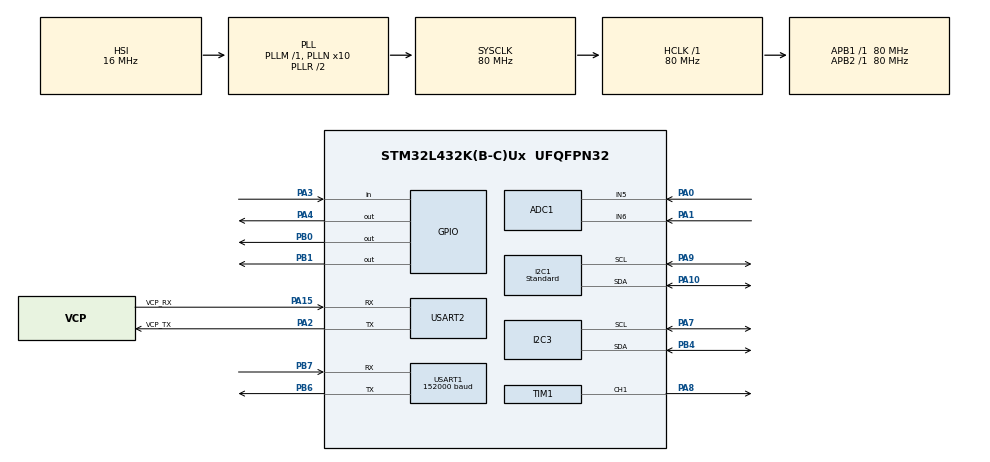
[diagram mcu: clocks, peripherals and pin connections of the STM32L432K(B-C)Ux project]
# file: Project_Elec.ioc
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ADC1.Channel-0\#ChannelRegularConversion=ADC_CHANNEL_5
ADC1.NbrOfConversionFlag=1
ADC1.OffsetNumber-0\#ChannelRegularConversion=ADC_OFFSET_NONE
ADC1.Rank-0\#ChannelRegularConversion=1
ADC1.SamplingTime-0\#ChannelRegularConversion=ADC_SAMPLETIME_2CYCLES_5
ADC1.master=1
Dma.Request0=USART1_RX
Dma.Request1=USART1_TX
Dma.USART1_RX.0.Direction=DMA_PERIPH_TO_MEMORY
Dma.USART1_RX.0.Instance=DMA1_Channel5
Dma.USART1_RX.0.MemDataAlignment=DMA_MDATAALIGN_BYTE
Dma.USART1_RX.0.MemInc=DMA_MINC_ENABLE
Dma.USART1_RX.0.Mode=DMA_CIRCULAR
Dma.USART1_RX.0.PeriphDataAlignment=DMA_PDATAALIGN_BYTE
Dma.USART1_RX.0.PeriphInc=DMA_PINC_DISABLE
Dma.USART1_RX.0.Priority=DMA_PRIORITY_LOW
Dma.USART1_TX.1.Direction=DMA_MEMORY_TO_PERIPH
Dma.USART1_TX.1.Instance=DMA1_Channel4
Dma.USART1_TX.1.MemDataAlignment=DMA_MDATAALIGN_BYTE
Dma.USART1_TX.1.MemInc=DMA_MINC_ENABLE
Dma.USART1_TX.1.Mode=DMA_NORMAL
Dma.USART1_TX.1.PeriphDataAlignment=DMA_PDATAALIGN_BYTE
Dma.USART1_TX.1.PeriphInc=DMA_PINC_DISABLE
Dma.USART1_TX.1.Priority=DMA_PRIORITY_LOW
I2C1.I2C_Speed_Mode=I2C_Standard
I2C1.Timing=0x10D19CE4
I2C3.Timing=0x10D19CE4
Mcu.Family=STM32L4
Mcu.Name=STM32L432K(B-C)Ux
Mcu.Package=UFQFPN32
NVIC.DMA1_Channel4_IRQn=true\:0\:0\:false\:false\:true\:false\:true\:true
NVIC.DMA1_Channel5_IRQn=true\:0\:0\:false\:false\:true\:false\:true\:true
NVIC.PriorityGroup=NVIC_PRIORITYGROUP_4
NVIC.USART1_IRQn=true\:0\:0\:false\:false\:true\:true\:true\:true
PA0.Signal=ADCx_IN5
PA1.Signal=ADCx_IN6
PA10.Mode=I2C
PA10.Signal=I2C1_SDA
PA13\ (JTMS-SWDIO).GPIO_Label=SWDIO
PA13\ (JTMS-SWDIO).Mode=Serial_Wire
PA13\ (JTMS-SWDIO).Signal=SYS_JTMS-SWDIO
PA14\ (JTCK-SWCLK).GPIO_Label=SWCLK
PA14\ (JTCK-SWCLK).Mode=Serial_Wire
PA14\ (JTCK-SWCLK).Signal=SYS_JTCK-SWCLK
PA15\ (JTDI).GPIO_Label=VCP_RX
PA15\ (JTDI).Mode=Asynchronous
PA15\ (JTDI).Signal=USART2_RX
PA2.GPIO_Label=VCP_TX
PA2.Mode=Asynchronous
PA2.Signal=USART2_TX
PA3.Signal=GPIO_Input
PA4.Signal=GPIO_Output
PA7.Mode=I2C
PA7.Signal=I2C3_SCL
PA8.Signal=S_TIM1_CH1
PA9.Mode=I2C
PA9.Signal=I2C1_SCL
PB0.Signal=GPIO_Output
PB1.Signal=GPIO_Output
PB4\ (NJTRST).Mode=I2C
PB4\ (NJTRST).Signal=I2C3_SDA
PB6.Mode=Asynchronous
PB6.Signal=USART1_TX
PB7.Mode=Asynchronous
PB7.Signal=USART1_RX
PC14-OSC32_IN\ (PC14).Mode=LSE-External-Oscillator
PC14-OSC32_IN\ (PC14).Signal=RCC_OSC32_IN
PC15-OSC32_OUT\ (PC15).Mode=LSE-External-Oscillator
PC15-OSC32_OUT\ (PC15).Signal=RCC_OSC32_OUT
ProjectManager.HeapSize=0x200
ProjectManager.StackSize=0x400
ProjectManager.TargetToolchain=STM32CubeIDE
RCC.ADCFreq_Value=64000000
RCC.AHBFreq_Value=80000000
RCC.APB1Freq_Value=80000000
RCC.APB1TimFreq_Value=80000000
RCC.APB2Freq_Value=80000000
RCC.APB2TimFreq_Value=80000000
RCC.CortexFreq_Value=80000000
RCC.HCLKFreq_Value=80000000
RCC.HSE_VALUE=8000000
RCC.HSI16_VALUE=16000000
RCC.HSI48_VALUE=48000000
RCC.HSI_VALUE=16000000
RCC.MSI_VALUE=4000000
RCC.PLLMUL=RCC_PLLMUL_4
RCC.PLLN=10
RCC.PLLSourceVirtual=RCC_PLLSOURCE_HSI
RCC.SYSCLKFreq_VALUE=80000000
RCC.SYSCLKSource=RCC_SYSCLKSOURCE_PLLCLK
RCC.USART1CLockSelection=RCC_USART1CLKSOURCE_HSI
RCC.USBFreq_Value=64000000
RCC.VCOOutputFreq_Value=160000000
SH.ADCx_IN5.0=ADC1_IN5,IN5-Single-Ended
SH.ADCx_IN6.0=ADC1_IN6,IN6-Single-Ended
SH.S_TIM1_CH1.0=TIM1_CH1,PWM Generation1 CH1
TIM1.Channel-PWM\ Generation1\ CH1=TIM_CHANNEL_1
TIM1.Prescaler=799
USART1.BaudRate=152000
USART1.VirtualMode-Asynchronous=VM_ASYNC
USART2.VirtualMode-Asynchronous=VM_ASYNC
VP_TIM1_VS_ClockSourceINT.Mode=Internal
board=NUCLEO-L432KC

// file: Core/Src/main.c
/* USER CODE BEGIN Header */
/**
  ******************************************************************************
  * @file           : main.c
  * @brief          : Main program body
  ******************************************************************************
  * @attention
  *
  * Copyright (c) 2026 STMicroelectronics.
  * All rights reserved.
  *
  * This software is licensed under terms that can be found in the LICENSE file
  * in the root directory of this software component.
  * If no LICENSE file comes with this software, it is provided AS-IS.
  *
  ******************************************************************************
  */
/* USER CODE END Header */
#include "main.h"

/* USER CODE BEGIN Includes */
#include "bmp280.h"
#include "ssd1306.h"
#include "ssd1306_fonts.h"
#include "stdio.h"
#include "string.h"
#include "stdlib.h"
/* USER CODE END Includes */

/* USER CODE BEGIN PD */
#define RX_BUF_SIZE 128
/* USER CODE END PD */

ADC_HandleTypeDef hadc1;

I2C_HandleTypeDef hi2c1;
I2C_HandleTypeDef hi2c3;

TIM_HandleTypeDef htim1;

UART_HandleTypeDef huart1;
UART_HandleTypeDef huart2;
DMA_HandleTypeDef hdma_usart1_rx;
DMA_HandleTypeDef hdma_usart1_tx;

/* USER CODE BEGIN PV */
BMP280_HandleTypedef bmp280;
float temperature, pressure, humidity;
int soil_perc = 0, light_perc = 0;

// --- Moving Average Filters ---
#define MA_SIZE 5
int soil_ma[MA_SIZE] = {0};
int light_ma[MA_SIZE] = {0};
float temp_ma[MA_SIZE] = {0};
uint8_t ma_idx = 0;
uint8_t ma_count = 0;

// --- DMA Circular Buffer ---
#define DMA_RX_BUF_SIZE 256
uint8_t dma_rx_buf[DMA_RX_BUF_SIZE];
uint16_t dma_read_ptr = 0;

#define CMD_QUEUE_SIZE 8
char cmd_queue[CMD_QUEUE_SIZE][16];
volatile uint8_t cmd_head = 0;
volatile uint8_t cmd_tail = 0;

uint16_t rx_index = 0;
uint8_t rx_temp_buffer[RX_BUF_SIZE]; // Used for parsing characters from DMA

// Actuator states
uint8_t pump_state = 0, fan_state = 0, light_state = 0;
uint8_t auto_mode = 1;
uint8_t is_daytime = 1; // 1 = Day, 0 = Night (Sleep mode for light)

// --- ADVANCED: Calibration Values ---
int dry_val = 4095; // Default for air
int wet_val = 3500; // Default for water

// Schmitt Trigger Thresholds
int soil_low_threshold = 30;
int soil_high_threshold = 50;
float temp_high_threshold = 30.0;
float temp_low_threshold = 25.0;
int light_low_threshold = 30;
int light_high_threshold = 73;
const int SOIL_CRITICAL_LOW = 0;   // 0% moisture
const int SOIL_CRITICAL_HIGH = 100; // 100% moisture (flooded)
const int TEMP_CRITICAL_LOW = 0;   // 5 degrees C (freezing danger)
const int TEMP_CRITICAL_HIGH = 50; // 45 degrees C (heat stroke danger)
const int LIGHT_CRITICAL_LOW = 0;
const int LIGHT_CRITICAL_HIGH = 100;

// --- ADVANCED: Failsafe Variables ---
uint32_t pump_start_tick = 0;
uint8_t pump_failsafe = 0; // 1 = Hardware error detected
int soil_last_check = 0;

int health_score = 100;
uint32_t last_telemetry_time = 0;
char last_cmd[16] = "WAIT";

// --- Non-Blocking TX ---
char json_tx_buffer[250];
volatile uint8_t tx_complete = 1;// DMA hardware reads from here
/* USER CODE END PV */

void SystemClock_Config(void);
static void MX_GPIO_Init(void);
static void MX_DMA_Init(void);
static void MX_USART2_UART_Init(void);
static void MX_I2C1_Init(void);
static void MX_I2C3_Init(void);
static void MX_TIM1_Init(void);
static void MX_ADC1_Init(void);
static void MX_USART1_UART_Init(void);
/* USER CODE BEGIN PFP */
uint16_t Read_ADC_Channel(uint32_t channel);
void Apply_Sensor_Smoothing(int current_soil, int current_light, float current_temp);
int32_t constrain(int32_t value, int32_t min_val, int32_t max_val);
int32_t map(int32_t x, int32_t in_min, int32_t in_max, int32_t out_min, int32_t out_max);
void Process_Command(char* cmd);
/* USER CODE END PFP */

/* USER CODE BEGIN 0 */
const unsigned char plant_happy_32x32[] = {
        0x00, 0x1e, 0x78, 0x00, 0x00, 0x61, 0x86, 0x00, 0x01, 0x83, 0x03, 0x00, 0x00, 0xc3, 0x0c, 0x00,
        0x00, 0x67, 0x98, 0x00, 0x00, 0x3c, 0xf0, 0x00, 0x00, 0xff, 0xfc, 0x00, 0x03, 0xff, 0xff, 0x00,
        0x07, 0xff, 0xff, 0x80, 0x0f, 0xff, 0xff, 0xc0, 0x1f, 0x3f, 0xf3, 0xe0, 0x1e, 0x1f, 0xe1, 0xe0,
        0x3f, 0x3f, 0xf3, 0xf0, 0x3f, 0xff, 0xff, 0xf0, 0x3f, 0xff, 0xff, 0xf0, 0x3f, 0xef, 0xf7, 0xf0,
        0x3f, 0xe7, 0xe7, 0xf0, 0x1f, 0xf8, 0x1f, 0xe0, 0x1f, 0xff, 0xff, 0xe0, 0x0f, 0xff, 0xff, 0xc0,
        0x07, 0xff, 0xff, 0x80, 0x03, 0xff, 0xff, 0x00, 0x00, 0xff, 0xfc, 0x00, 0x00, 0x3c, 0xf0, 0x00,
        0x00, 0x78, 0x78, 0x00, 0x00, 0xf0, 0x3c, 0x00, 0x00, 0x00, 0x00, 0x00, 0x00, 0x00, 0x00, 0x00,
        0x00, 0x00, 0x00, 0x00, 0x00, 0x00, 0x00, 0x00, 0x00, 0x00, 0x00, 0x00, 0x00, 0x00, 0x00, 0x00
};

const unsigned char plant_sad_32x32[] = {
        0x00, 0x00, 0x00, 0x00, 0x00, 0x00, 0x00, 0x00, 0x00, 0x00, 0x00, 0x00, 0x00, 0x3f, 0x00, 0x00,
        0x00, 0xc0, 0xc0, 0x00, 0x01, 0x9f, 0x30, 0x00, 0x00, 0xe1, 0xc0, 0x00, 0x00, 0x3f, 0x00, 0x00,
        0x00, 0xff, 0xfc, 0x00, 0x03, 0xff, 0xff, 0x00, 0x07, 0xff, 0xff, 0x80, 0x0f, 0xff, 0xff, 0xc0,
        0x1f, 0x3f, 0xf3, 0xe0, 0x1e, 0x1f, 0xe1, 0xe0, 0x3f, 0x3f, 0xf3, 0xf0, 0x3f, 0xff, 0xff, 0xf0,
        0x3f, 0xff, 0xff, 0xf0, 0x3f, 0xf0, 0x3f, 0xf0, 0x3f, 0xf3, 0x3f, 0xf0, 0x1f, 0xf0, 0x3f, 0xe0,
        0x1f, 0xff, 0xff, 0xe0, 0x0f, 0xff, 0xff, 0xc0, 0x07, 0xff, 0xff, 0x80, 0x03, 0xff, 0xff, 0x00,
        0x00, 0xff, 0xfc, 0x00, 0x00, 0x3c, 0xf0, 0x00, 0x00, 0x78, 0x78, 0x00, 0x00, 0xf0, 0x3c, 0x00,
        0x00, 0x00, 0x00, 0x00, 0x00, 0x00, 0x00, 0x00, 0x00, 0x00, 0x00, 0x00, 0x00, 0x00, 0x00, 0x00
};
/* USER CODE END 0 */

int main(void)
{

  /* MCU Configuration--------------------------------------------------------*/

  /* Reset of all peripherals, Initializes the Flash interface and the Systick. */
  HAL_Init();

  /* Configure the system clock */
  SystemClock_Config();

  /* Initialize all configured peripherals */
  MX_GPIO_Init();
  MX_DMA_Init();
  MX_USART2_UART_Init();
  MX_I2C1_Init();
  MX_I2C3_Init();
  MX_TIM1_Init();
  MX_ADC1_Init();
  MX_USART1_UART_Init();
  /* USER CODE BEGIN 2 */

  ssd1306_Init();
  HAL_ADCEx_Calibration_Start(&hadc1, ADC_SINGLE_ENDED);
  bmp280_init_default_params(&bmp280.params);
  bmp280.addr = BMP280_I2C_ADDRESS_0; // Try _0 (0x76) or _1 (0x77) if it fails
  bmp280.i2c = &hi2c3;

    if (!bmp280_init(&bmp280, &bmp280.params)) {
        // Sensor not found!
    }

  // Start UART DMA circular reception
  HAL_UART_Receive_DMA(&huart1, dma_rx_buf, DMA_RX_BUF_SIZE);

  // THE ULTIMATE FIX: Disable the UART Error Interrupt (EIE).
  // This prevents the STM32 HAL from violently shutting down the DMA
  // receiver if the water pump causes an electrical noise spike (Overrun Error).
  CLEAR_BIT(huart1.Instance->CR3, USART_CR3_EIE);

  /* USER CODE END 2 */

  /* Infinite loop */
  /* USER CODE BEGIN WHILE */
  while (1)
  {

          uint16_t dma_write_ptr = DMA_RX_BUF_SIZE - __HAL_DMA_GET_COUNTER(&hdma_usart1_rx);
          while (dma_read_ptr != dma_write_ptr) {
              uint8_t c = dma_rx_buf[dma_read_ptr];
              dma_read_ptr = (dma_read_ptr + 1) % DMA_RX_BUF_SIZE;

              if (c == '\n' || c == '\r') {
                  if (rx_index > 0) {
                      rx_temp_buffer[rx_index] = '\0';
                      uint8_t next_head = (cmd_head + 1) % CMD_QUEUE_SIZE;
                      if (next_head != cmd_tail) { // if queue not full
                          strncpy(cmd_queue[cmd_head], (char*)rx_temp_buffer, 15);
                          cmd_queue[cmd_head][15] = '\0';
                          cmd_head = next_head;
                      }
                      rx_index = 0;
                  }
              } else {

                  if ((c >= '0' && c <= '9') || c == ':' || c == '.' || c == '-') {
                      if (rx_index < RX_BUF_SIZE - 1) {
                          rx_temp_buffer[rx_index++] = (uint8_t)c;
                      }
                  } else {
                      rx_index = 0;
                  }
              }
          }

          while (cmd_tail != cmd_head) {
              Process_Command(cmd_queue[cmd_tail]);
              cmd_tail = (cmd_tail + 1) % CMD_QUEUE_SIZE;
              last_telemetry_time = HAL_GetTick() - 1000;
          }

          // --- 1. READ THE SENSORS ---
          uint16_t raw_moisture = Read_ADC_Channel(ADC_CHANNEL_5); // PA0
          uint16_t raw_light = Read_ADC_Channel(ADC_CHANNEL_6);    // PA1 (LDR)
          bmp280_read_float(&bmp280, &temperature, &pressure, &humidity);

          // --- 2. CALCULATE PERCENTAGES (Using Calibration) ---
          int current_soil = 100 - ((raw_moisture - wet_val) * 100 / (dry_val - wet_val));

          int bright_value = 4095;
          int dark_value = 100;
          int current_light = 100 - ((raw_light - bright_value) * 100 / (dark_value - bright_value));

          if (current_soil > 100) { current_soil = 100; }
          if (current_soil < 0)   { current_soil = 0; }
          if (current_light > 100) { current_light = 100; }
          if (current_light < 0)   { current_light = 0; }

          // --- 2.5 APPLY MOVING AVERAGE FILTER ---
          Apply_Sensor_Smoothing(current_soil, current_light, temperature);

          // --- 3. HEALTH SCORING LOGIC ---

          int soil_score = 100;
          if (soil_perc < soil_low_threshold) {
            soil_score = map(soil_perc, SOIL_CRITICAL_LOW, soil_low_threshold, 0, 100);
          } else if (soil_perc > soil_high_threshold) {
            soil_score = map(soil_perc, soil_high_threshold, SOIL_CRITICAL_HIGH, 100, 0);
          }
          soil_score = constrain(soil_score, 0, 100);

          int temp_score = 100;
          if (temperature < temp_low_threshold) {
            temp_score = map(temperature, TEMP_CRITICAL_LOW, temp_low_threshold, 0, 100);
          } else if (temperature > temp_high_threshold) {
            temp_score = map(temperature, temp_high_threshold, TEMP_CRITICAL_HIGH, 100, 0);
          }
          temp_score = constrain(temp_score, 0, 100);

          int light_score = 100;
          if (light_perc < light_low_threshold) {
            light_score = map(light_perc, LIGHT_CRITICAL_LOW, light_low_threshold, 0, 100);
          } else if (light_perc > light_high_threshold) {
            // Assuming 100% light is the absolute max, but just slightly too bright
            light_score = map(light_perc,LIGHT_CRITICAL_HIGH, light_high_threshold, 100, 0); // Doesn't drop to 0, just to 50
          }
          light_score = constrain(light_score, 0, 100);

          // Apply Biological Weighting
          // Soil and Water are usually the most critical, followed by temp, then light.
          // The weights must add up to 1.0 (100%)
          float final_health = (soil_score * 0.50) + (temp_score * 0.35) + (light_score * 0.15);

          // Final output
          int health_score = (int)final_health;

          // --- 4. AUTOMATION & FAILSAFE LOGIC ---
          if (auto_mode && !pump_failsafe) {
              if (soil_perc < soil_low_threshold) {
                  if (pump_state == 0) {
                      pump_state = 1;
                      pump_start_tick = HAL_GetTick();
                      soil_last_check = soil_perc;
                  }
              } else if (soil_perc > soil_high_threshold) {
                  pump_state = 0;
              }

              if (pump_state == 1 && (HAL_GetTick() - pump_start_tick > 300000)) { // 5 Minute timeout for drip irrigation
                  if (soil_perc <= soil_last_check + 1) { // Only require 1% change over 5 mins
                      pump_failsafe = 1;
                      pump_state = 0;
                  } else {
                      pump_start_tick = HAL_GetTick(); // Reset tick to check again in 5 mins
                      soil_last_check = soil_perc;
                  }
              }
              HAL_GPIO_WritePin(GPIOB, GPIO_PIN_0, pump_state ? GPIO_PIN_SET : GPIO_PIN_RESET);

              if (temperature > temp_high_threshold) {
                  fan_state = 1;
              } else if (temperature < temp_low_threshold) {
                  fan_state = 0;
              }
              HAL_GPIO_WritePin(GPIOB, GPIO_PIN_1, fan_state ? GPIO_PIN_SET : GPIO_PIN_RESET);

              if (is_daytime) {
                  if (light_perc < light_low_threshold && light_state == 0) {
                      light_state = 1;
                      HAL_GPIO_WritePin(GPIOA, GPIO_PIN_4, GPIO_PIN_SET);
                      HAL_Delay(100); // Short pulse to toggle
                      HAL_GPIO_WritePin(GPIOA, GPIO_PIN_4, GPIO_PIN_RESET);
                  } else if (light_perc > light_high_threshold && light_state == 1) {
                      light_state = 0;
                      HAL_GPIO_WritePin(GPIOA, GPIO_PIN_4, GPIO_PIN_SET);
                      HAL_Delay(100); // Short pulse to toggle
                      HAL_GPIO_WritePin(GPIOA, GPIO_PIN_4, GPIO_PIN_RESET);
                  }
              } else {
                  if (light_state == 1) {
                      light_state = 0;
                      HAL_GPIO_WritePin(GPIOA, GPIO_PIN_4, GPIO_PIN_SET);
                      HAL_Delay(100); // Short pulse to toggle
                      HAL_GPIO_WritePin(GPIOA, GPIO_PIN_4, GPIO_PIN_RESET);
                  }
              }
          }

          // --- 5. TELEMETRY & DISPLAY ---
          if (HAL_GetTick() - last_telemetry_time >= 1000) {
              last_telemetry_time = HAL_GetTick();

              ssd1306_Fill(Black);
              char display_buffer[32];

              // Draw Pokemon Avatar on the left (x=0, y=16)
              if (pump_failsafe || health_score <= 70) {
                  ssd1306_DrawBitmap(0, 16, plant_sad_32x32, 32, 32, White);
              } else {
                  ssd1306_DrawBitmap(0, 16, plant_happy_32x32, 32, 32, White);
              }

              if (pump_failsafe) {
                  ssd1306_SetCursor(35, 0);
                  ssd1306_WriteString("CRITICAL", Font_7x10, White);
                  ssd1306_SetCursor(35, 15);
                  ssd1306_WriteString("CHECK PUMP", Font_7x10, White);
              } else {
                  ssd1306_SetCursor(35, 0);
                  sprintf(display_buffer, "H:%d%% %s", health_score, auto_mode ? "A" : "M");
                  ssd1306_WriteString(display_buffer, Font_7x10, White);

                  sprintf(display_buffer, "S:%d%% L:%d%%", soil_perc, light_perc);
                  ssd1306_SetCursor(35, 15);
                  ssd1306_WriteString(display_buffer, Font_7x10, White);
              }

              sprintf(display_buffer, "T:%.1fC P:%s", temperature, pump_state ? "ON" : "OFF");
              ssd1306_SetCursor(35, 30);
              ssd1306_WriteString(display_buffer, Font_7x10, White);

              sprintf(display_buffer, "F:%s L:%s", fan_state ? "ON" : "OFF", light_state ? "ON" : "OFF");
              ssd1306_SetCursor(35, 42);
              ssd1306_WriteString(display_buffer, Font_7x10, White);

              sprintf(display_buffer, "C:%s", last_cmd);
              ssd1306_SetCursor(35, 54);
              ssd1306_WriteString(display_buffer, Font_7x10, White);

              ssd1306_UpdateScreen();

              if (tx_complete) {
                  sprintf(json_tx_buffer, "{\"s\":%d,\"l\":%d,\"t\":%.1f,\"p\":%d,\"f\":%d,\"pl\":%d,\"am\":%d,\"h\":%d,\"sl\":%d,\"sh\":%d,\"th\":%.1f,\"tl\":%.1f,\"ll\":%d,\"lh\":%d,\"pf\":%d,\"dv\":%d,\"wv\":%d,\"day\":%d,\"c\":\"%s\"}\n",
                          soil_perc, light_perc, temperature, pump_state, fan_state, light_state, auto_mode, health_score,
                          soil_low_threshold, soil_high_threshold, temp_high_threshold, temp_low_threshold, light_low_threshold, light_high_threshold, pump_failsafe, dry_val, wet_val, is_daytime, last_cmd);

                  tx_complete = 0; // Lock the flag

                  // Check if the DMA successfully started
                  if (HAL_UART_Transmit_DMA(&huart1, (uint8_t*)json_tx_buffer, strlen(json_tx_buffer)) != HAL_OK) {
                      // If it failed to start, unlock the flag so it can try again next loop
                      tx_complete = 1;
                  }
              }
          }
    /* USER CODE END WHILE */

  }
}

void SystemClock_Config(void)
{
  RCC_OscInitTypeDef RCC_OscInitStruct = {0};
  RCC_ClkInitTypeDef RCC_ClkInitStruct = {0};

  /** Configure the main internal regulator output voltage
  */
  if (HAL_PWREx_ControlVoltageScaling(PWR_REGULATOR_VOLTAGE_SCALE1) != HAL_OK)
  {
    Error_Handler();
  }

  /** Initializes the RCC Oscillators according to the specified parameters
  * in the RCC_OscInitTypeDef structure.
  */
  RCC_OscInitStruct.OscillatorType = RCC_OSCILLATORTYPE_HSI;
  RCC_OscInitStruct.HSIState = RCC_HSI_ON;
  RCC_OscInitStruct.HSICalibrationValue = RCC_HSICALIBRATION_DEFAULT;
  RCC_OscInitStruct.PLL.PLLState = RCC_PLL_ON;
  RCC_OscInitStruct.PLL.PLLSource = RCC_PLLSOURCE_HSI;
  RCC_OscInitStruct.PLL.PLLM = 1;
  RCC_OscInitStruct.PLL.PLLN = 10;
  RCC_OscInitStruct.PLL.PLLP = RCC_PLLP_DIV7;
  RCC_OscInitStruct.PLL.PLLQ = RCC_PLLQ_DIV2;
  RCC_OscInitStruct.PLL.PLLR = RCC_PLLR_DIV2;
  if (HAL_RCC_OscConfig(&RCC_OscInitStruct) != HAL_OK)
  {
    Error_Handler();
  }

  /** Initializes the CPU, AHB and APB buses clocks
  */
  RCC_ClkInitStruct.ClockType = RCC_CLOCKTYPE_HCLK|RCC_CLOCKTYPE_SYSCLK
                              |RCC_CLOCKTYPE_PCLK1|RCC_CLOCKTYPE_PCLK2;
  RCC_ClkInitStruct.SYSCLKSource = RCC_SYSCLKSOURCE_PLLCLK;
  RCC_ClkInitStruct.AHBCLKDivider = RCC_SYSCLK_DIV1;
  RCC_ClkInitStruct.APB1CLKDivider = RCC_HCLK_DIV1;
  RCC_ClkInitStruct.APB2CLKDivider = RCC_HCLK_DIV1;

  if (HAL_RCC_ClockConfig(&RCC_ClkInitStruct, FLASH_LATENCY_4) != HAL_OK)
  {
    Error_Handler();
  }
}

static void MX_ADC1_Init(void)
{

  ADC_ChannelConfTypeDef sConfig = {0};

  /** Common config
  */
  hadc1.Instance = ADC1;
  hadc1.Init.ClockPrescaler = ADC_CLOCK_ASYNC_DIV1;
  hadc1.Init.Resolution = ADC_RESOLUTION_12B;
  hadc1.Init.DataAlign = ADC_DATAALIGN_RIGHT;
  hadc1.Init.ScanConvMode = ADC_SCAN_DISABLE;
  hadc1.Init.EOCSelection = ADC_EOC_SINGLE_CONV;
  hadc1.Init.LowPowerAutoWait = DISABLE;
  hadc1.Init.ContinuousConvMode = DISABLE;
  hadc1.Init.NbrOfConversion = 1;
  hadc1.Init.DiscontinuousConvMode = DISABLE;
  hadc1.Init.ExternalTrigConv = ADC_SOFTWARE_START;
  hadc1.Init.ExternalTrigConvEdge = ADC_EXTERNALTRIGCONVEDGE_NONE;
  hadc1.Init.DMAContinuousRequests = DISABLE;
  hadc1.Init.Overrun = ADC_OVR_DATA_PRESERVED;
  hadc1.Init.OversamplingMode = DISABLE;
  if (HAL_ADC_Init(&hadc1) != HAL_OK)
  {
    Error_Handler();
  }

  /** Configure Regular Channel
  */
  sConfig.Channel = ADC_CHANNEL_5;
  sConfig.Rank = ADC_REGULAR_RANK_1;
  sConfig.SamplingTime = ADC_SAMPLETIME_2CYCLES_5;
  sConfig.SingleDiff = ADC_SINGLE_ENDED;
  sConfig.OffsetNumber = ADC_OFFSET_NONE;
  sConfig.Offset = 0;
  if (HAL_ADC_ConfigChannel(&hadc1, &sConfig) != HAL_OK)
  {
    Error_Handler();
  }

}

static void MX_I2C1_Init(void)
{

  hi2c1.Instance = I2C1;
  hi2c1.Init.Timing = 0x10D19CE4;
  hi2c1.Init.OwnAddress1 = 0;
  hi2c1.Init.AddressingMode = I2C_ADDRESSINGMODE_7BIT;
  hi2c1.Init.DualAddressMode = I2C_DUALADDRESS_DISABLE;
  hi2c1.Init.OwnAddress2 = 0;
  hi2c1.Init.OwnAddress2Masks = I2C_OA2_NOMASK;
  hi2c1.Init.GeneralCallMode = I2C_GENERALCALL_DISABLE;
  hi2c1.Init.NoStretchMode = I2C_NOSTRETCH_DISABLE;
  if (HAL_I2C_Init(&hi2c1) != HAL_OK)
  {
    Error_Handler();
  }

  /** Configure Analogue filter
  */
  if (HAL_I2CEx_ConfigAnalogFilter(&hi2c1, I2C_ANALOGFILTER_ENABLE) != HAL_OK)
  {
    Error_Handler();
  }

  /** Configure Digital filter
  */
  if (HAL_I2CEx_ConfigDigitalFilter(&hi2c1, 0) != HAL_OK)
  {
    Error_Handler();
  }

}

static void MX_I2C3_Init(void)
{

  hi2c3.Instance = I2C3;
  hi2c3.Init.Timing = 0x10D19CE4;
  hi2c3.Init.OwnAddress1 = 0;
  hi2c3.Init.AddressingMode = I2C_ADDRESSINGMODE_7BIT;
  hi2c3.Init.DualAddressMode = I2C_DUALADDRESS_DISABLE;
  hi2c3.Init.OwnAddress2 = 0;
  hi2c3.Init.OwnAddress2Masks = I2C_OA2_NOMASK;
  hi2c3.Init.GeneralCallMode = I2C_GENERALCALL_DISABLE;
  hi2c3.Init.NoStretchMode = I2C_NOSTRETCH_DISABLE;
  if (HAL_I2C_Init(&hi2c3) != HAL_OK)
  {
    Error_Handler();
  }

  /** Configure Analogue filter
  */
  if (HAL_I2CEx_ConfigAnalogFilter(&hi2c3, I2C_ANALOGFILTER_ENABLE) != HAL_OK)
  {
    Error_Handler();
  }

  /** Configure Digital filter
  */
  if (HAL_I2CEx_ConfigDigitalFilter(&hi2c3, 0) != HAL_OK)
  {
    Error_Handler();
  }

}

static void MX_TIM1_Init(void)
{

  TIM_ClockConfigTypeDef sClockSourceConfig = {0};
  TIM_MasterConfigTypeDef sMasterConfig = {0};
  TIM_OC_InitTypeDef sConfigOC = {0};
  TIM_BreakDeadTimeConfigTypeDef sBreakDeadTimeConfig = {0};

  htim1.Instance = TIM1;
  htim1.Init.Prescaler = 799;
  htim1.Init.CounterMode = TIM_COUNTERMODE_UP;
  htim1.Init.Period = 65535;
  htim1.Init.ClockDivision = TIM_CLOCKDIVISION_DIV1;
  htim1.Init.RepetitionCounter = 0;
  htim1.Init.AutoReloadPreload = TIM_AUTORELOAD_PRELOAD_DISABLE;
  if (HAL_TIM_Base_Init(&htim1) != HAL_OK)
  {
    Error_Handler();
  }
  sClockSourceConfig.ClockSource = TIM_CLOCKSOURCE_INTERNAL;
  if (HAL_TIM_ConfigClockSource(&htim1, &sClockSourceConfig) != HAL_OK)
  {
    Error_Handler();
  }
  if (HAL_TIM_PWM_Init(&htim1) != HAL_OK)
  {
    Error_Handler();
  }
  sMasterConfig.MasterOutputTrigger = TIM_TRGO_RESET;
  sMasterConfig.MasterOutputTrigger2 = TIM_TRGO2_RESET;
  sMasterConfig.MasterSlaveMode = TIM_MASTERSLAVEMODE_DISABLE;
  if (HAL_TIMEx_MasterConfigSynchronization(&htim1, &sMasterConfig) != HAL_OK)
  {
    Error_Handler();
  }
  sConfigOC.OCMode = TIM_OCMODE_PWM1;
  sConfigOC.Pulse = 0;
  sConfigOC.OCPolarity = TIM_OCPOLARITY_HIGH;
  sConfigOC.OCNPolarity = TIM_OCNPOLARITY_HIGH;
  sConfigOC.OCFastMode = TIM_OCFAST_DISABLE;
  sConfigOC.OCIdleState = TIM_OCIDLESTATE_RESET;
  sConfigOC.OCNIdleState = TIM_OCNIDLESTATE_RESET;
  if (HAL_TIM_PWM_ConfigChannel(&htim1, &sConfigOC, TIM_CHANNEL_1) != HAL_OK)
  {
    Error_Handler();
  }
  sBreakDeadTimeConfig.OffStateRunMode = TIM_OSSR_DISABLE;
  sBreakDeadTimeConfig.OffStateIDLEMode = TIM_OSSI_DISABLE;
  sBreakDeadTimeConfig.LockLevel = TIM_LOCKLEVEL_OFF;
  sBreakDeadTimeConfig.DeadTime = 0;
  sBreakDeadTimeConfig.BreakState = TIM_BREAK_DISABLE;
  sBreakDeadTimeConfig.BreakPolarity = TIM_BREAKPOLARITY_HIGH;
  sBreakDeadTimeConfig.BreakFilter = 0;
  sBreakDeadTimeConfig.Break2State = TIM_BREAK2_DISABLE;
  sBreakDeadTimeConfig.Break2Polarity = TIM_BREAK2POLARITY_HIGH;
  sBreakDeadTimeConfig.Break2Filter = 0;
  sBreakDeadTimeConfig.AutomaticOutput = TIM_AUTOMATICOUTPUT_DISABLE;
  if (HAL_TIMEx_ConfigBreakDeadTime(&htim1, &sBreakDeadTimeConfig) != HAL_OK)
  {
    Error_Handler();
  }
  HAL_TIM_MspPostInit(&htim1);

}

static void MX_USART1_UART_Init(void)
{

  huart1.Instance = USART1;
  huart1.Init.BaudRate = 152000;
  huart1.Init.WordLength = UART_WORDLENGTH_8B;
  huart1.Init.StopBits = UART_STOPBITS_1;
  huart1.Init.Parity = UART_PARITY_NONE;
  huart1.Init.Mode = UART_MODE_TX_RX;
  huart1.Init.HwFlowCtl = UART_HWCONTROL_NONE;
  huart1.Init.OverSampling = UART_OVERSAMPLING_16;
  huart1.Init.OneBitSampling = UART_ONE_BIT_SAMPLE_DISABLE;
  huart1.AdvancedInit.AdvFeatureInit = UART_ADVFEATURE_NO_INIT;
  if (HAL_UART_Init(&huart1) != HAL_OK)
  {
    Error_Handler();
  }

}

static void MX_USART2_UART_Init(void)
{

  huart2.Instance = USART2;
  huart2.Init.BaudRate = 115200;
  huart2.Init.WordLength = UART_WORDLENGTH_8B;
  huart2.Init.StopBits = UART_STOPBITS_1;
  huart2.Init.Parity = UART_PARITY_NONE;
  huart2.Init.Mode = UART_MODE_TX_RX;
  huart2.Init.HwFlowCtl = UART_HWCONTROL_NONE;
  huart2.Init.OverSampling = UART_OVERSAMPLING_16;
  huart2.Init.OneBitSampling = UART_ONE_BIT_SAMPLE_DISABLE;
  huart2.AdvancedInit.AdvFeatureInit = UART_ADVFEATURE_NO_INIT;
  if (HAL_UART_Init(&huart2) != HAL_OK)
  {
    Error_Handler();
  }

}

static void MX_DMA_Init(void)
{

  /* DMA controller clock enable */
  __HAL_RCC_DMA1_CLK_ENABLE();

  /* DMA interrupt init */
  /* DMA1_Channel4_IRQn interrupt configuration */
  HAL_NVIC_SetPriority(DMA1_Channel4_IRQn, 0, 0);
  HAL_NVIC_EnableIRQ(DMA1_Channel4_IRQn);
  /* DMA1_Channel5_IRQn interrupt configuration */
  HAL_NVIC_SetPriority(DMA1_Channel5_IRQn, 0, 0);
  HAL_NVIC_EnableIRQ(DMA1_Channel5_IRQn);

}

static void MX_GPIO_Init(void)
{
  GPIO_InitTypeDef GPIO_InitStruct = {0};

  /* GPIO Ports Clock Enable */
  __HAL_RCC_GPIOC_CLK_ENABLE();
  __HAL_RCC_GPIOA_CLK_ENABLE();
  __HAL_RCC_GPIOB_CLK_ENABLE();

  /*Configure GPIO pin Output Level */
  HAL_GPIO_WritePin(GPIOA, GPIO_PIN_4, GPIO_PIN_RESET);

  /*Configure GPIO pin Output Level */
  HAL_GPIO_WritePin(GPIOB, GPIO_PIN_0|GPIO_PIN_1, GPIO_PIN_RESET);

  /*Configure GPIO pin : PA3 */
  GPIO_InitStruct.Pin = GPIO_PIN_3;
  GPIO_InitStruct.Mode = GPIO_MODE_INPUT;
  GPIO_InitStruct.Pull = GPIO_NOPULL;
  HAL_GPIO_Init(GPIOA, &GPIO_InitStruct);

  /*Configure GPIO pin : PA4 */
  GPIO_InitStruct.Pin = GPIO_PIN_4;
  GPIO_InitStruct.Mode = GPIO_MODE_OUTPUT_PP;
  GPIO_InitStruct.Pull = GPIO_NOPULL;
  GPIO_InitStruct.Speed = GPIO_SPEED_FREQ_LOW;
  HAL_GPIO_Init(GPIOA, &GPIO_InitStruct);

  /*Configure GPIO pins : PB0 PB1 */
  GPIO_InitStruct.Pin = GPIO_PIN_0|GPIO_PIN_1;
  GPIO_InitStruct.Mode = GPIO_MODE_OUTPUT_PP;
  GPIO_InitStruct.Pull = GPIO_NOPULL;
  GPIO_InitStruct.Speed = GPIO_SPEED_FREQ_LOW;
  HAL_GPIO_Init(GPIOB, &GPIO_InitStruct);

}

/* USER CODE BEGIN 4 */
uint16_t Read_ADC_Channel(uint32_t channel) {
    ADC_ChannelConfTypeDef sConfig = {0};
    sConfig.Channel = channel;
    sConfig.Rank = ADC_REGULAR_RANK_1;
    sConfig.SamplingTime = ADC_SAMPLETIME_247CYCLES_5;
    sConfig.SingleDiff = ADC_SINGLE_ENDED;
    sConfig.OffsetNumber = ADC_OFFSET_NONE;
    sConfig.Offset = 0;

    if (HAL_ADC_ConfigChannel(&hadc1, &sConfig) != HAL_OK) {
        Error_Handler();
    }

    uint32_t accumulator = 0;
    const int samples = 16;
    for(int i = 0; i < samples; i++) {
        HAL_ADC_Start(&hadc1);
        if (HAL_ADC_PollForConversion(&hadc1, 5) == HAL_OK) {
            accumulator += HAL_ADC_GetValue(&hadc1);
        }
        for(volatile int j = 0; j < 1000; j++);
    }
    return (uint16_t)(accumulator / samples);
}

void Process_Command(char* cmd) {
    int command_id = 0;
    float value_f = 0.0;
    int value_i = 0;

    strncpy(last_cmd, cmd, 15);
    last_cmd[15] = '\0';

    char *colon = strchr(cmd, ':');
    if (colon != NULL) {
        *colon = '\0';
        command_id = atoi(cmd);
        value_f = atof(colon + 1);
        value_i = atoi(colon + 1);
    } else {
        command_id = atoi(cmd);
    }

    switch (command_id) {
        case 0: // AUTO OFF
            auto_mode = 0;
            break;

        case 1: // AUTO ON
            auto_mode = 1;
            break;

        case 2: // PUMP OFF
            auto_mode = 0;  // Stop auto logic
            pump_state = 0;
            HAL_GPIO_WritePin(GPIOB, GPIO_PIN_0, GPIO_PIN_RESET);
            break;

        case 3: // PUMP ON
            auto_mode = 0;  // Stop auto logic
            pump_state = 1;
            HAL_GPIO_WritePin(GPIOB, GPIO_PIN_0, GPIO_PIN_SET);
            break;

        case 4: // FAN OFF
            auto_mode = 0;
            fan_state = 0;
            HAL_GPIO_WritePin(GPIOB, GPIO_PIN_1, GPIO_PIN_RESET);
            break;

        case 5: // FAN ON
            auto_mode = 0;
            fan_state = 1;
            HAL_GPIO_WritePin(GPIOB, GPIO_PIN_1, GPIO_PIN_SET);
            break;

        case 6: // LIGHT OFF
            auto_mode = 0;
            if (light_state == 1) {
                light_state = 0;
                HAL_GPIO_WritePin(GPIOA, GPIO_PIN_4, GPIO_PIN_SET);
                HAL_Delay(100); // Short pulse to toggle
                HAL_GPIO_WritePin(GPIOA, GPIO_PIN_4, GPIO_PIN_RESET);
            }
            break;

        case 7: // LIGHT ON
            auto_mode = 0;
            if (light_state == 0) {
                light_state = 1;
                HAL_GPIO_WritePin(GPIOA, GPIO_PIN_4, GPIO_PIN_SET);
                HAL_Delay(100); // Short pulse to toggle
                HAL_GPIO_WritePin(GPIOA, GPIO_PIN_4, GPIO_PIN_RESET);
            }
            break;

        case 8: // CAL DRY
            dry_val = Read_ADC_Channel(ADC_CHANNEL_5);
            break;

        case 9: // CAL WET
            wet_val = Read_ADC_Channel(ADC_CHANNEL_5);
            break;

        case 10: // RESET FAILSAFE
            pump_failsafe = 0;
            pump_state = 0;
            HAL_GPIO_WritePin(GPIOB, GPIO_PIN_0, GPIO_PIN_RESET);
            break;

        case 11: soil_low_threshold = value_i; break;
        case 12: soil_high_threshold = value_i; break;
        case 13: temp_low_threshold = value_f; break;
        case 14: temp_high_threshold = value_f; break;
        case 15: light_low_threshold = value_i; break;
        case 16: light_high_threshold = value_i; break;

        case 17: is_daytime = 1; break;
        case 18: is_daytime = 0; break;

        default:
            break;
    }
}
int32_t constrain(int32_t value, int32_t min_val, int32_t max_val) {
    if (value < min_val) return min_val;
    if (value > max_val) return max_val;
    return value;
}

// Function for linear interpolation (replaces Arduino map)
// Uses integer math to save processing cycles on the microcontroller
int32_t map(int32_t x, int32_t in_min, int32_t in_max, int32_t out_min, int32_t out_max) {
    // Failsafe: Prevent division by zero if input ranges are accidentally identical
    if (in_max == in_min) {
        return out_min;
    }
    return (x - in_min) * (out_max - out_min) / (in_max - in_min) + out_min;
}

void Apply_Sensor_Smoothing(int current_soil, int current_light, float current_temp) {
    // Push new data into the sliding window arrays
    soil_ma[ma_idx] = current_soil;
    light_ma[ma_idx] = current_light;
    temp_ma[ma_idx] = current_temp;

    // Increment circular index
    ma_idx = (ma_idx + 1) % MA_SIZE;
    if (ma_count < MA_SIZE) ma_count++;

    // Calculate the averages
    long soil_sum = 0, light_sum = 0;
    float temp_sum = 0.0f;
    for (int i = 0; i < ma_count; i++) {
        soil_sum += soil_ma[i];
        light_sum += light_ma[i];
        temp_sum += temp_ma[i];
    }

    // Update the global variables used by the rest of the app
    soil_perc = (int)(soil_sum / ma_count);
    light_perc = (int)(light_sum / ma_count);
    temperature = temp_sum / ma_count;
}

void HAL_UART_TxCpltCallback(UART_HandleTypeDef *huart) {
    if (huart->Instance == USART1) {
        tx_complete = 1;
    }
}

void HAL_UART_ErrorCallback(UART_HandleTypeDef *huart) {
    if (huart->Instance == USART1) {
        // Clear hardware error flags
        __HAL_UART_CLEAR_OREFLAG(huart);
        __HAL_UART_CLEAR_NEFLAG(huart);
        __HAL_UART_CLEAR_FEFLAG(huart);

        // Abort the locked state
        HAL_UART_AbortReceive(huart);

        // Restart the DMA circular listener
        HAL_UART_Receive_DMA(&huart1, dma_rx_buf, DMA_RX_BUF_SIZE);

        // Reset our parser pointers so we don't read corrupt data
        dma_read_ptr = 0;
        rx_index = 0;
    }
}
/* USER CODE END 4 */

void Error_Handler(void)
{
  __disable_irq();
  while (1)
  {
  }
}
